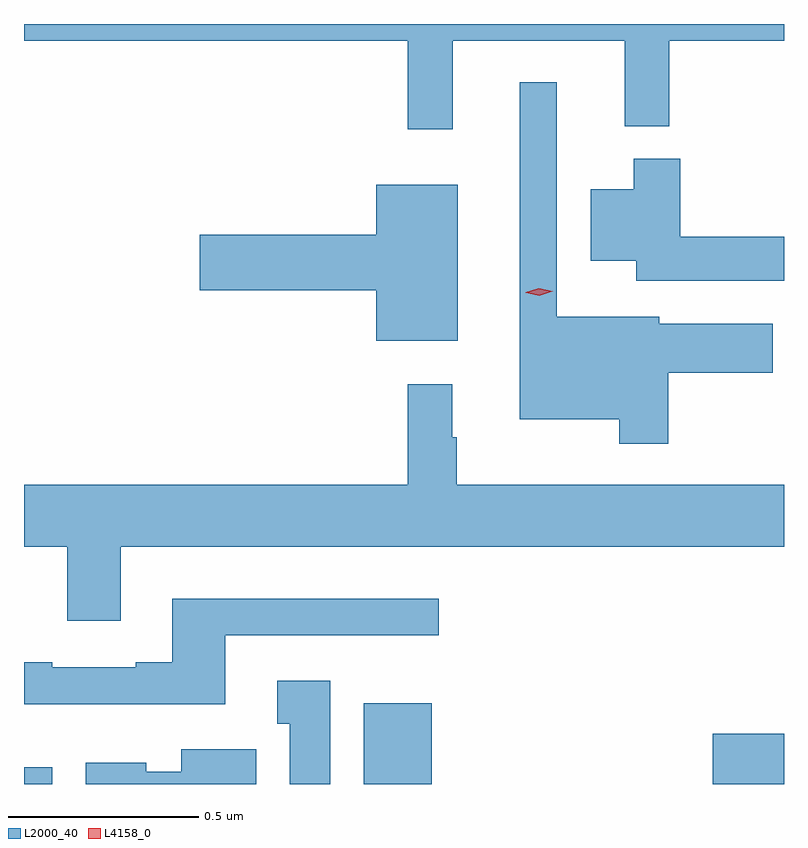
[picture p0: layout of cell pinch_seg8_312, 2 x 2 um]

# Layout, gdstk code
import gdstk
lib = gdstk.Library(unit=1e-6, precision=1e-09)
def R(c, l, rs):  # rectangles x0, y0, x1, y1
    for r in rs: c.add(gdstk.rectangle(r[:2], r[2:], *l))
def P(c, l, *ps):  # polygons
    for p in ps: c.add(gdstk.Polygon(p, *l))
L2000_40 = (2000, 40)
L4158_0 = (4158, 0)

pinch_seg8_312 = lib.new_cell('pinch_seg8_312')
R(pinch_seg8_312, L2000_40, [(513.857,1145.18,513.931,1145.224), (514.751,1145.18,514.93,1145.392), (515.67,1145.18,515.857,1145.312)])
P(pinch_seg8_312, L2000_40, [(514.985,1147.136),(515.438,1147.136),(515.438,1146.911),(515.555,1146.911),(515.555,1147.136),(515.857,1147.136),(515.857,1147.18),(513.857,1147.18),(513.857,1147.136),(514.867,1147.136),(514.867,1146.903),(514.985,1146.903)],
  [(515.552,1146.262),(515.827,1146.262),(515.827,1146.391),(515.529,1146.391),(515.529,1146.409),(515.259,1146.409),(515.259,1147.027),(515.162,1147.027),(515.162,1146.14),(515.424,1146.14),(515.424,1146.075),(515.552,1146.075)],
  [(515.857,1146.62),(515.584,1146.62),(515.584,1146.826),(515.462,1146.826),(515.462,1146.745),(515.348,1146.745),(515.348,1146.557),(515.468,1146.557),(515.468,1146.504),(515.857,1146.504)],
  [(514.999,1146.757),(514.784,1146.757),(514.784,1146.626),(514.32,1146.626),(514.32,1146.479),(514.784,1146.479),(514.784,1146.347),(514.999,1146.347)],
  [(514.111,1145.804),(515.857,1145.804),(515.857,1145.968),(514.996,1145.968),(514.996,1146.092),(514.984,1146.092),(514.984,1146.232),(514.867,1146.232),(514.867,1145.968),(513.857,1145.968),(513.857,1145.804),(513.971,1145.804),(513.971,1145.61),(514.111,1145.61)],
  [(514.387,1145.571),(514.948,1145.571),(514.948,1145.668),(514.247,1145.668),(514.247,1145.5),(514.151,1145.5),(514.151,1145.487),(513.931,1145.487),(513.931,1145.5),(513.857,1145.5),(513.857,1145.39),(514.387,1145.39)],
  [(514.663,1145.452),(514.523,1145.452),(514.523,1145.339),(514.556,1145.339),(514.556,1145.18),(514.663,1145.18)],
  [(514.468,1145.272),(514.271,1145.272),(514.271,1145.212),(514.179,1145.212),(514.179,1145.236),(514.019,1145.236),(514.019,1145.18),(514.468,1145.18)])
P(pinch_seg8_312, L4158_0, [(515.213,1146.465),(515.177,1146.473),(515.177,1146.474),(515.177,1146.474),(515.212,1146.485),(515.248,1146.477),(515.249,1146.477),(515.248,1146.477)])

lib.write_gds('pinch_seg8_312.gds')
